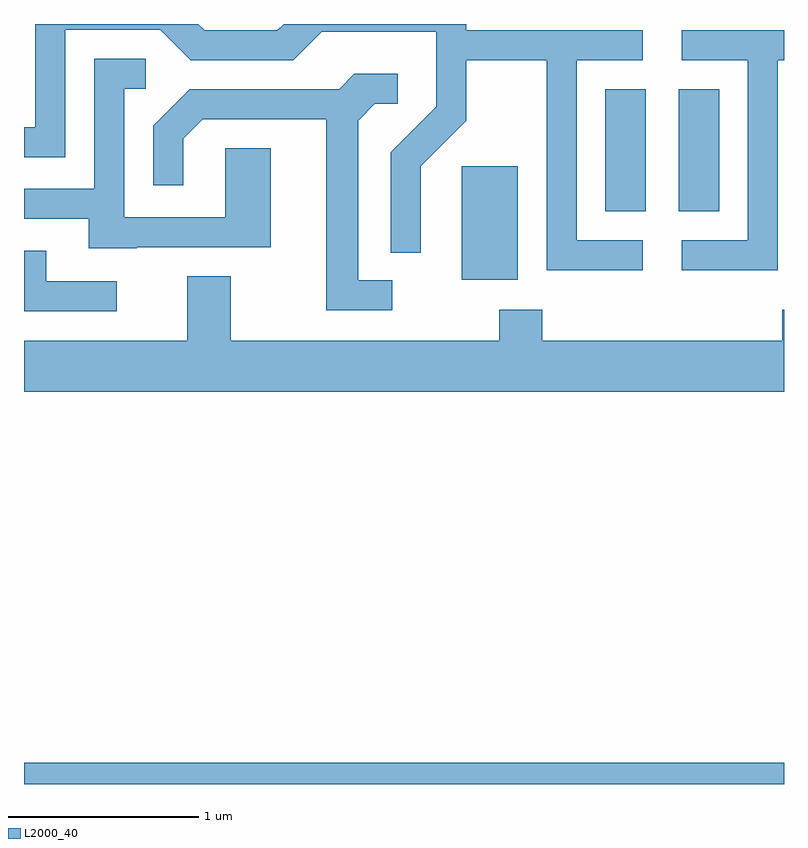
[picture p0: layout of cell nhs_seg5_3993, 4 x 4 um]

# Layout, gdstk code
import gdstk
lib = gdstk.Library(unit=1e-6, precision=1e-09)
def R(c, l, rs):  # rectangles x0, y0, x1, y1
    for r in rs: c.add(gdstk.rectangle(r[:2], r[2:], *l))
def P(c, l, *ps):  # polygons
    for p in ps: c.add(gdstk.Polygon(p, *l))
L2000_40 = (2000, 40)

nhs_seg5_3993 = lib.new_cell('nhs_seg5_3993')
R(nhs_seg5_3993, L2000_40, [(303.611,1448.072,307.611,1448.184), (305.916,1450.726,306.209,1451.324), (306.671,1451.086,306.884,1451.729), (307.056,1451.086,307.269,1451.729)])
P(nhs_seg5_3993, L2000_40, [(306.868,1450.934),(306.519,1450.934),(306.519,1451.881),(306.868,1451.881),(306.868,1452.039),(305.939,1452.039),(305.939,1452.072),(304.977,1452.072),(304.944,1452.039),(304.562,1452.039),(304.529,1452.072),(303.671,1452.072),(303.671,1451.529),(303.611,1451.529),(303.611,1451.371),(303.829,1451.371),(303.829,1452.041),(304.329,1452.041),(304.489,1451.881),(305.027,1451.881),(305.177,1452.031),(305.781,1452.031),(305.781,1451.637),(305.541,1451.397),(305.541,1450.868),(305.699,1450.868),(305.699,1451.324),(305.939,1451.564),(305.939,1451.881),(306.361,1451.881),(306.361,1450.776),(306.868,1450.776)],
  [(307.579,1451.881),(307.611,1451.881),(307.611,1452.039),(307.073,1452.039),(307.073,1451.881),(307.421,1451.881),(307.421,1450.934),(307.073,1450.934),(307.073,1450.776),(307.579,1450.776)],
  [(304.205,1450.896),(304.909,1450.896),(304.909,1451.419),(304.671,1451.419),(304.671,1451.054),(304.139,1451.054),(304.139,1451.731),(304.253,1451.731),(304.253,1451.889),(303.981,1451.889),(303.981,1451.204),(303.611,1451.204),(303.611,1451.046),(303.951,1451.046),(303.951,1450.891),(304.205,1450.891)],
  [(305.548,1450.724),(305.369,1450.724),(305.369,1451.564),(305.457,1451.651),(305.578,1451.651),(305.578,1451.809),(305.349,1451.809),(305.269,1451.729),(304.484,1451.729),(304.291,1451.537),(304.291,1451.223),(304.449,1451.223),(304.449,1451.469),(304.552,1451.571),(305.201,1451.571),(305.201,1450.566),(305.548,1450.566)],
  [(304.098,1450.719),(303.729,1450.719),(303.729,1450.879),(303.611,1450.879),(303.611,1450.561),(304.098,1450.561)],
  [(307.611,1450.569),(307.601,1450.569),(307.601,1450.404),(306.339,1450.404),(306.339,1450.569),(306.111,1450.569),(306.111,1450.404),(304.699,1450.404),(304.699,1450.744),(304.471,1450.744),(304.471,1450.404),(303.611,1450.404),(303.611,1450.136),(307.611,1450.136)])

lib.write_gds('nhs_seg5_3993.gds')
